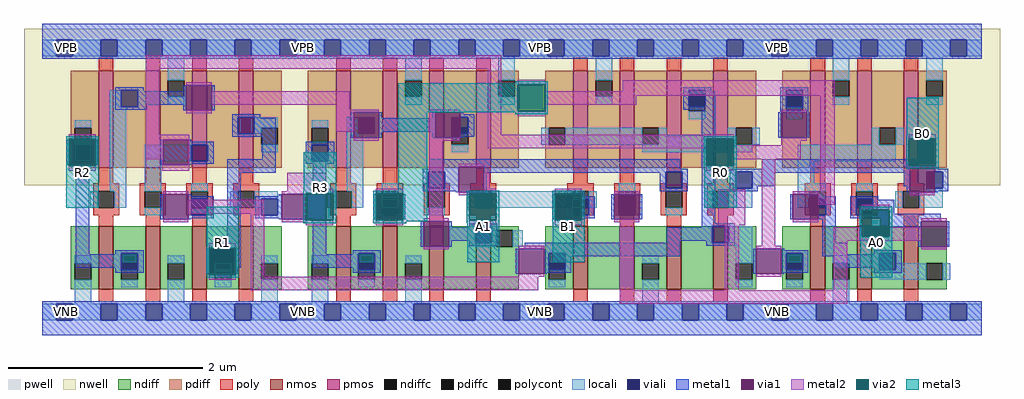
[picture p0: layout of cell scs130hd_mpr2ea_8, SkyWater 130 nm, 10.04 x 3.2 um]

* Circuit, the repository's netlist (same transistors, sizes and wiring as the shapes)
* NGSPICE file created from scs130hd_mpr2ea_8.ext - technology: sky130A

.subckt scs130hd_mpr2ea_8 VPB VNB B0 A1 R2 A0 R0 R3 B1 R1 vpwr vgnd
X0 vgnd R0 R2 VNB sky130_fd_pr__nfet_01v8 ad=0.10725 pd=0.98 as=0.10725 ps=0.98 w=0.65 l=0.15
X1 a_826_46# A1 vgnd VNB sky130_fd_pr__nfet_01v8 ad=0.10725 pd=0.98 as=0.10725 ps=0.98 w=0.65 l=0.15
X2 a_104_198# A1 vpwr VPB sky130_fd_pr__pfet_01v8 ad=0.165 pd=1.33 as=0.165 ps=1.33 w=1 l=0.15
X3 vpwr B1 a_104_198# VPB sky130_fd_pr__pfet_01v8 ad=0.29 pd=2.58 as=0.165 ps=1.33 w=1 l=0.15
X4 R2 a_104_198# vgnd VNB sky130_fd_pr__nfet_01v8 ad=0.10725 pd=0.98 as=0.1885 ps=1.88 w=0.65 l=0.15
X5 a_688_198# B0 a_1706_46# VNB sky130_fd_pr__nfet_01v8 ad=0.1885 pd=1.88 as=0.10725 ps=0.98 w=0.65 l=0.15
X6 vpwr a_688_198# a_634_296# VPB sky130_fd_pr__pfet_01v8 ad=0.165 pd=1.33 as=0.165 ps=1.33 w=1 l=0.15
X7 vgnd R3 R1 VNB sky130_fd_pr__nfet_01v8 ad=0.1885 pd=1.88 as=0.10725 ps=0.98 w=0.65 l=0.15
X8 a_1706_46# A0 vgnd VNB sky130_fd_pr__nfet_01v8 ad=0.10725 pd=0.98 as=0.10725 ps=0.98 w=0.65 l=0.15
X9 a_634_296# a_104_198# R3 VPB sky130_fd_pr__pfet_01v8 ad=0.165 pd=1.33 as=0.29 ps=2.58 w=1 l=0.15
X10 a_1122_46# B1 a_296_198# VNB sky130_fd_pr__nfet_01v8 ad=0.10725 pd=0.98 as=0.1885 ps=1.88 w=0.65 l=0.15
X11 R1 a_296_198# vgnd VNB sky130_fd_pr__nfet_01v8 ad=0.10725 pd=0.98 as=0.10725 ps=0.98 w=0.65 l=0.15
X12 a_296_198# B0 a_1314_46# VNB sky130_fd_pr__nfet_01v8 ad=0.1885 pd=1.88 as=0.10725 ps=0.98 w=0.65 l=0.15
X13 vpwr B1 a_1034_296# VPB sky130_fd_pr__pfet_01v8 ad=0.165 pd=1.33 as=0.29 ps=2.58 w=1 l=0.15
X14 a_1034_296# B0 a_296_198# VPB sky130_fd_pr__pfet_01v8 ad=0.29 pd=2.58 as=0.165 ps=1.33 w=1 l=0.15
X15 a_1034_296# A0 vpwr VPB sky130_fd_pr__pfet_01v8 ad=0.165 pd=1.33 as=0.165 ps=1.33 w=1 l=0.15
X16 a_296_198# A1 a_1034_296# VPB sky130_fd_pr__pfet_01v8 ad=0.165 pd=1.33 as=0.165 ps=1.33 w=1 l=0.15
X17 a_1314_46# A1 vgnd VNB sky130_fd_pr__nfet_01v8 ad=0.10725 pd=0.98 as=0.10725 ps=0.98 w=0.65 l=0.15
X18 vgnd a_688_198# R3 VNB sky130_fd_pr__nfet_01v8 ad=0.10725 pd=0.98 as=0.10725 ps=0.98 w=0.65 l=0.15
X19 vgnd A0 a_1122_46# VNB sky130_fd_pr__nfet_01v8 ad=0.10725 pd=0.98 as=0.10725 ps=0.98 w=0.65 l=0.15
X20 R3 a_104_198# vgnd VNB sky130_fd_pr__nfet_01v8 ad=0.10725 pd=0.98 as=0.1885 ps=1.88 w=0.65 l=0.15
X21 vpwr R0 a_146_296# VPB sky130_fd_pr__pfet_01v8 ad=0.165 pd=1.33 as=0.165 ps=1.33 w=1 l=0.15
X22 a_146_296# a_104_198# R2 VPB sky130_fd_pr__pfet_01v8 ad=0.165 pd=1.33 as=0.29 ps=2.58 w=1 l=0.15
X23 a_338_296# a_296_198# vpwr VPB sky130_fd_pr__pfet_01v8 ad=0.165 pd=1.33 as=0.165 ps=1.33 w=1 l=0.15
X24 R1 R3 a_338_296# VPB sky130_fd_pr__pfet_01v8 ad=0.29 pd=2.58 as=0.165 ps=1.33 w=1 l=0.15
X25 vpwr a_688_198# R0 VPB sky130_fd_pr__pfet_01v8 ad=0.165 pd=1.33 as=0.29 ps=2.58 w=1 l=0.15
X26 vpwr B0 a_688_198# VPB sky130_fd_pr__pfet_01v8 ad=0.29 pd=2.58 as=0.165 ps=1.33 w=1 l=0.15
X27 a_104_198# B1 a_826_46# VNB sky130_fd_pr__nfet_01v8 ad=0.1885 pd=1.88 as=0.10725 ps=0.98 w=0.65 l=0.15
X28 vgnd a_688_198# R0 VNB sky130_fd_pr__nfet_01v8 ad=0.10725 pd=0.98 as=0.1885 ps=1.88 w=0.65 l=0.15
X29 a_688_198# A0 vpwr VPB sky130_fd_pr__pfet_01v8 ad=0.165 pd=1.33 as=0.165 ps=1.33 w=1 l=0.15
.ends

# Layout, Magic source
magic
tech sky130A
magscale 1 2
<< nwell >>
rect -38 260 1970 582
<< pwell >>
rect 32 -12 66 16
rect 28 -16 66 -12
rect 520 -16 554 16
rect 1008 -16 1042 16
rect 1496 -12 1530 16
rect 1496 -16 1534 -12
rect 28 -18 62 -16
rect 1500 -18 1534 -16
<< nmos >>
rect 116 46 146 176
rect 212 46 242 176
rect 308 46 338 176
rect 404 46 434 176
rect 604 46 634 176
rect 700 46 730 176
rect 796 46 826 176
rect 892 46 922 176
rect 1092 46 1122 176
rect 1188 46 1218 176
rect 1284 46 1314 176
rect 1380 46 1410 176
rect 1580 46 1610 176
rect 1676 46 1706 176
rect 1772 46 1802 176
<< pmos >>
rect 116 296 146 496
rect 212 296 242 496
rect 308 296 338 496
rect 404 296 434 496
rect 604 296 634 496
rect 700 296 730 496
rect 796 296 826 496
rect 892 296 922 496
rect 1092 296 1122 496
rect 1188 296 1218 496
rect 1284 296 1314 496
rect 1380 296 1410 496
rect 1580 296 1610 496
rect 1676 296 1706 496
rect 1772 296 1802 496
<< ndiff >>
rect 58 100 116 176
rect 58 66 66 100
rect 100 66 116 100
rect 58 46 116 66
rect 146 100 212 176
rect 146 66 162 100
rect 196 66 212 100
rect 146 46 212 66
rect 242 100 308 176
rect 242 66 258 100
rect 292 66 308 100
rect 242 46 308 66
rect 338 100 404 176
rect 338 66 354 100
rect 388 66 404 100
rect 338 46 404 66
rect 434 100 492 176
rect 434 66 450 100
rect 484 66 492 100
rect 434 46 492 66
rect 546 100 604 176
rect 546 66 554 100
rect 588 66 604 100
rect 546 46 604 66
rect 634 100 700 176
rect 634 66 650 100
rect 684 66 700 100
rect 634 46 700 66
rect 730 100 796 176
rect 730 66 746 100
rect 780 66 796 100
rect 730 46 796 66
rect 826 46 892 176
rect 922 168 980 176
rect 922 134 934 168
rect 968 134 980 168
rect 922 46 980 134
rect 1034 100 1092 176
rect 1034 66 1042 100
rect 1076 66 1092 100
rect 1034 46 1092 66
rect 1122 46 1188 176
rect 1218 100 1284 176
rect 1218 66 1234 100
rect 1268 66 1284 100
rect 1218 46 1284 66
rect 1314 46 1380 176
rect 1410 100 1468 176
rect 1410 66 1426 100
rect 1460 66 1468 100
rect 1410 46 1468 66
rect 1522 100 1580 176
rect 1522 66 1530 100
rect 1564 66 1580 100
rect 1522 46 1580 66
rect 1610 100 1676 176
rect 1610 66 1626 100
rect 1660 66 1676 100
rect 1610 46 1676 66
rect 1706 46 1772 176
rect 1802 100 1860 176
rect 1802 66 1818 100
rect 1852 66 1860 100
rect 1802 46 1860 66
<< pdiff >>
rect 58 378 116 496
rect 58 344 66 378
rect 100 344 116 378
rect 58 296 116 344
rect 146 296 212 496
rect 242 476 308 496
rect 242 442 258 476
rect 292 442 308 476
rect 242 296 308 442
rect 338 296 404 496
rect 434 378 492 496
rect 434 344 450 378
rect 484 344 492 378
rect 434 296 492 344
rect 546 378 604 496
rect 546 344 554 378
rect 588 344 604 378
rect 546 296 604 344
rect 634 296 700 496
rect 730 476 796 496
rect 730 442 746 476
rect 780 442 796 476
rect 730 296 796 442
rect 826 378 892 496
rect 826 344 842 378
rect 876 344 892 378
rect 826 296 892 344
rect 922 476 980 496
rect 922 442 938 476
rect 972 442 980 476
rect 922 296 980 442
rect 1034 378 1092 496
rect 1034 344 1042 378
rect 1076 344 1092 378
rect 1034 296 1092 344
rect 1122 476 1188 496
rect 1122 442 1138 476
rect 1172 442 1188 476
rect 1122 296 1188 442
rect 1218 378 1284 496
rect 1218 344 1234 378
rect 1268 344 1284 378
rect 1218 296 1284 344
rect 1314 446 1380 496
rect 1314 412 1330 446
rect 1364 412 1380 446
rect 1314 296 1380 412
rect 1410 378 1468 496
rect 1410 344 1426 378
rect 1460 344 1468 378
rect 1410 296 1468 344
rect 1522 446 1580 496
rect 1522 412 1530 446
rect 1564 412 1580 446
rect 1522 296 1580 412
rect 1610 476 1676 496
rect 1610 442 1626 476
rect 1660 442 1676 476
rect 1610 296 1676 442
rect 1706 378 1772 496
rect 1706 344 1722 378
rect 1756 344 1772 378
rect 1706 296 1772 344
rect 1802 476 1860 496
rect 1802 442 1818 476
rect 1852 442 1860 476
rect 1802 296 1860 442
<< ndiffc >>
rect 66 66 100 100
rect 162 66 196 100
rect 258 66 292 100
rect 354 66 388 100
rect 450 66 484 100
rect 554 66 588 100
rect 650 66 684 100
rect 746 66 780 100
rect 934 134 968 168
rect 1042 66 1076 100
rect 1234 66 1268 100
rect 1426 66 1460 100
rect 1530 66 1564 100
rect 1626 66 1660 100
rect 1818 66 1852 100
<< pdiffc >>
rect 66 344 100 378
rect 258 442 292 476
rect 450 344 484 378
rect 554 344 588 378
rect 746 442 780 476
rect 842 344 876 378
rect 938 442 972 476
rect 1042 344 1076 378
rect 1138 442 1172 476
rect 1234 344 1268 378
rect 1330 412 1364 446
rect 1426 344 1460 378
rect 1530 412 1564 446
rect 1626 442 1660 476
rect 1722 344 1756 378
rect 1818 442 1852 476
<< poly >>
rect 116 496 146 522
rect 212 496 242 522
rect 308 496 338 522
rect 404 496 434 522
rect 604 496 634 522
rect 700 496 730 522
rect 796 496 826 522
rect 892 496 922 522
rect 1092 496 1122 522
rect 1188 496 1218 522
rect 1284 496 1314 522
rect 1380 496 1410 522
rect 1580 496 1610 522
rect 1676 496 1706 522
rect 1772 496 1802 522
rect 116 264 146 296
rect 212 264 242 296
rect 308 264 338 296
rect 404 264 434 296
rect 604 264 634 296
rect 700 264 730 296
rect 796 264 826 296
rect 892 264 922 296
rect 1092 264 1122 296
rect 1188 264 1218 296
rect 1284 264 1314 296
rect 1380 264 1410 296
rect 1580 264 1610 296
rect 1676 264 1706 296
rect 1772 264 1802 296
rect 104 248 158 264
rect 104 214 114 248
rect 148 214 158 248
rect 104 198 158 214
rect 200 248 254 264
rect 200 214 210 248
rect 244 214 254 248
rect 200 198 254 214
rect 296 248 350 264
rect 296 214 306 248
rect 340 214 350 248
rect 296 198 350 214
rect 392 248 446 264
rect 392 214 402 248
rect 436 214 446 248
rect 392 198 446 214
rect 592 248 646 264
rect 592 214 602 248
rect 636 214 646 248
rect 592 198 646 214
rect 688 248 742 264
rect 688 214 698 248
rect 732 214 742 248
rect 688 198 742 214
rect 784 248 838 264
rect 784 214 794 248
rect 828 214 838 248
rect 784 198 838 214
rect 880 248 934 264
rect 880 214 890 248
rect 924 214 934 248
rect 880 198 934 214
rect 1080 248 1134 264
rect 1080 214 1090 248
rect 1124 214 1134 248
rect 1080 198 1134 214
rect 1176 248 1230 264
rect 1176 214 1186 248
rect 1220 214 1230 248
rect 1176 198 1230 214
rect 1272 248 1326 264
rect 1272 214 1282 248
rect 1316 214 1326 248
rect 1272 198 1326 214
rect 1368 248 1422 264
rect 1368 214 1378 248
rect 1412 214 1422 248
rect 1368 198 1422 214
rect 1568 248 1622 264
rect 1568 214 1578 248
rect 1612 214 1622 248
rect 1568 198 1622 214
rect 1664 248 1718 264
rect 1664 214 1674 248
rect 1708 214 1718 248
rect 1664 198 1718 214
rect 1760 248 1814 264
rect 1760 214 1770 248
rect 1804 214 1814 248
rect 1760 198 1814 214
rect 116 176 146 198
rect 212 176 242 198
rect 308 176 338 198
rect 404 176 434 198
rect 604 176 634 198
rect 700 176 730 198
rect 796 176 826 198
rect 892 176 922 198
rect 1092 176 1122 198
rect 1188 176 1218 198
rect 1284 176 1314 198
rect 1380 176 1410 198
rect 1580 176 1610 198
rect 1676 176 1706 198
rect 1772 176 1802 198
rect 116 20 146 46
rect 212 20 242 46
rect 308 20 338 46
rect 404 20 434 46
rect 604 20 634 46
rect 700 20 730 46
rect 796 20 826 46
rect 892 20 922 46
rect 1092 20 1122 46
rect 1188 20 1218 46
rect 1284 20 1314 46
rect 1380 20 1410 46
rect 1580 20 1610 46
rect 1676 20 1706 46
rect 1772 20 1802 46
<< polycont >>
rect 114 214 148 248
rect 210 214 244 248
rect 306 214 340 248
rect 402 214 436 248
rect 602 214 636 248
rect 698 214 732 248
rect 794 214 828 248
rect 890 214 924 248
rect 1090 214 1124 248
rect 1186 214 1220 248
rect 1282 214 1316 248
rect 1378 214 1412 248
rect 1578 214 1612 248
rect 1674 214 1708 248
rect 1770 214 1804 248
<< locali >>
rect 0 526 28 560
rect 62 526 120 560
rect 154 526 212 560
rect 246 526 304 560
rect 338 526 396 560
rect 430 526 488 560
rect 522 526 580 560
rect 614 526 672 560
rect 706 526 764 560
rect 798 526 856 560
rect 890 526 948 560
rect 982 526 1040 560
rect 1074 526 1132 560
rect 1166 526 1224 560
rect 1258 526 1316 560
rect 1350 526 1408 560
rect 1442 526 1500 560
rect 1534 526 1592 560
rect 1626 526 1684 560
rect 1718 526 1776 560
rect 1810 526 1868 560
rect 1902 526 1932 560
rect 258 476 292 526
rect 138 422 162 456
rect 258 426 292 442
rect 746 476 780 526
rect 746 426 780 442
rect 938 476 972 526
rect 938 426 972 442
rect 1138 476 1172 526
rect 1626 476 1660 526
rect 1138 426 1172 442
rect 1330 456 1364 462
rect 66 378 100 394
rect 138 248 172 422
rect 436 378 484 400
rect 436 366 450 378
rect 98 214 114 248
rect 148 214 172 248
rect 210 310 306 344
rect 450 328 484 344
rect 554 378 588 394
rect 626 366 650 400
rect 1330 396 1364 412
rect 1530 456 1564 462
rect 1626 426 1660 442
rect 1818 476 1852 526
rect 1818 426 1852 442
rect 1530 396 1564 412
rect 210 248 244 310
rect 210 198 244 214
rect 306 248 340 264
rect 626 248 660 366
rect 1026 344 1042 378
rect 1076 344 1234 378
rect 1268 362 1284 378
rect 1410 362 1426 378
rect 1268 344 1426 362
rect 1460 344 1476 378
rect 1706 344 1722 378
rect 1756 344 1772 378
rect 842 328 876 344
rect 1234 328 1460 344
rect 1554 310 1756 344
rect 386 214 402 248
rect 436 232 484 248
rect 436 214 450 232
rect 586 214 602 248
rect 636 214 660 248
rect 698 248 732 264
rect 794 248 828 254
rect 1186 248 1220 264
rect 874 214 890 248
rect 924 214 1090 248
rect 1124 214 1140 248
rect 794 198 828 214
rect 1282 248 1316 254
rect 1426 248 1460 254
rect 1362 214 1378 248
rect 1412 214 1460 248
rect 1554 264 1588 310
rect 1554 248 1612 264
rect 1554 214 1578 248
rect 1282 198 1316 214
rect 1674 248 1708 264
rect 1818 248 1852 254
rect 1754 214 1770 248
rect 1804 214 1852 248
rect 924 142 934 168
rect 890 134 934 142
rect 968 134 988 168
rect 1412 142 1460 176
rect 66 100 100 116
rect 66 16 100 66
rect 162 50 196 66
rect 258 100 292 116
rect 258 16 292 66
rect 354 50 388 66
rect 450 100 484 116
rect 450 16 484 66
rect 554 100 588 116
rect 554 16 588 66
rect 650 50 684 66
rect 746 100 780 116
rect 746 16 780 66
rect 1042 50 1076 66
rect 1234 100 1268 116
rect 1234 16 1268 66
rect 1426 100 1460 142
rect 1426 50 1460 66
rect 1530 50 1564 66
rect 1626 100 1660 116
rect 1756 86 1818 100
rect 1722 66 1818 86
rect 1852 66 1868 100
rect 1626 16 1660 66
rect 0 -18 28 16
rect 62 -18 120 16
rect 154 -18 212 16
rect 246 -18 304 16
rect 338 -18 396 16
rect 430 -18 488 16
rect 522 -18 580 16
rect 614 -18 672 16
rect 706 -18 764 16
rect 798 -18 856 16
rect 890 -18 948 16
rect 982 -18 1040 16
rect 1074 -18 1132 16
rect 1166 -18 1224 16
rect 1258 -18 1316 16
rect 1350 -18 1408 16
rect 1442 -18 1500 16
rect 1534 -18 1592 16
rect 1626 -18 1684 16
rect 1718 -18 1776 16
rect 1810 -18 1868 16
rect 1902 -18 1932 16
<< viali >>
rect 28 526 62 560
rect 120 526 154 560
rect 212 526 246 560
rect 304 526 338 560
rect 396 526 430 560
rect 488 526 522 560
rect 580 526 614 560
rect 672 526 706 560
rect 764 526 798 560
rect 856 526 890 560
rect 948 526 982 560
rect 1040 526 1074 560
rect 1132 526 1166 560
rect 1224 526 1258 560
rect 1316 526 1350 560
rect 1408 526 1442 560
rect 1500 526 1534 560
rect 1592 526 1626 560
rect 1684 526 1718 560
rect 1776 526 1810 560
rect 1868 526 1902 560
rect 162 422 196 456
rect 1330 446 1364 456
rect 1330 422 1364 446
rect 66 310 100 344
rect 402 366 436 400
rect 306 310 340 344
rect 554 310 588 344
rect 650 366 684 400
rect 842 378 876 400
rect 1530 446 1564 456
rect 1530 422 1564 446
rect 842 366 876 378
rect 306 214 340 232
rect 306 198 340 214
rect 450 198 484 232
rect 698 214 732 232
rect 698 198 732 214
rect 794 254 828 288
rect 1090 214 1124 232
rect 1186 214 1220 232
rect 1090 198 1124 214
rect 1186 198 1220 214
rect 1282 254 1316 288
rect 1426 254 1460 288
rect 1578 214 1612 232
rect 1578 198 1612 214
rect 1818 254 1852 288
rect 1674 214 1708 232
rect 1674 198 1708 214
rect 890 142 924 176
rect 1378 142 1412 176
rect 162 100 196 120
rect 162 86 196 100
rect 354 100 388 120
rect 354 86 388 100
rect 650 100 684 120
rect 650 86 684 100
rect 1042 100 1076 120
rect 1042 86 1076 100
rect 1530 100 1564 120
rect 1530 86 1564 100
rect 1722 86 1756 120
rect 28 -18 62 16
rect 120 -18 154 16
rect 212 -18 246 16
rect 304 -18 338 16
rect 396 -18 430 16
rect 488 -18 522 16
rect 580 -18 614 16
rect 672 -18 706 16
rect 764 -18 798 16
rect 856 -18 890 16
rect 948 -18 982 16
rect 1040 -18 1074 16
rect 1132 -18 1166 16
rect 1224 -18 1258 16
rect 1316 -18 1350 16
rect 1408 -18 1442 16
rect 1500 -18 1534 16
rect 1592 -18 1626 16
rect 1684 -18 1718 16
rect 1776 -18 1810 16
rect 1868 -18 1902 16
<< metal1 >>
rect 0 560 1932 592
rect 0 526 28 560
rect 62 526 120 560
rect 154 526 212 560
rect 246 526 304 560
rect 338 526 396 560
rect 430 526 488 560
rect 522 526 580 560
rect 614 526 672 560
rect 706 526 764 560
rect 798 526 856 560
rect 890 526 948 560
rect 982 526 1040 560
rect 1074 526 1132 560
rect 1166 526 1224 560
rect 1258 526 1316 560
rect 1350 526 1408 560
rect 1442 526 1500 560
rect 1534 526 1592 560
rect 1626 526 1684 560
rect 1718 526 1776 560
rect 1810 526 1868 560
rect 1902 526 1932 560
rect 0 520 1932 526
rect 150 456 208 462
rect 150 422 162 456
rect 196 454 208 456
rect 290 454 296 466
rect 196 426 296 454
rect 196 422 216 426
rect 150 416 216 422
rect 290 414 296 426
rect 348 414 354 466
rect 1318 456 1376 462
rect 1318 422 1330 456
rect 1364 454 1376 456
rect 1518 456 1576 462
rect 1364 422 1384 454
rect 1318 416 1384 422
rect 390 400 448 406
rect 390 366 402 400
rect 436 398 448 400
rect 436 366 480 398
rect 390 360 480 366
rect 50 302 56 354
rect 108 302 114 354
rect 242 302 248 354
rect 300 350 306 354
rect 300 344 352 350
rect 300 310 306 344
rect 340 310 352 344
rect 452 314 480 360
rect 634 358 640 410
rect 692 398 698 410
rect 802 398 808 410
rect 860 406 866 410
rect 860 400 888 406
rect 692 370 808 398
rect 692 358 698 370
rect 802 358 808 370
rect 876 366 888 400
rect 860 360 888 366
rect 860 358 866 360
rect 300 304 352 310
rect 300 302 306 304
rect 68 118 96 302
rect 380 286 480 314
rect 542 344 600 350
rect 542 310 554 344
rect 588 310 600 344
rect 542 304 600 310
rect 242 190 248 242
rect 300 238 306 242
rect 300 232 352 238
rect 300 198 306 232
rect 340 198 352 232
rect 300 192 352 198
rect 300 190 306 192
rect 380 130 408 286
rect 556 242 584 304
rect 796 298 1312 314
rect 796 294 856 298
rect 782 288 856 294
rect 782 254 794 288
rect 828 254 856 288
rect 782 248 856 254
rect 850 246 856 248
rect 908 294 1312 298
rect 908 288 1328 294
rect 908 286 1282 288
rect 908 246 914 286
rect 1270 254 1282 286
rect 1316 254 1328 288
rect 1270 248 1328 254
rect 486 238 492 242
rect 438 232 492 238
rect 438 198 450 232
rect 484 198 492 232
rect 438 192 492 198
rect 486 190 492 192
rect 544 190 584 242
rect 682 190 688 242
rect 740 190 746 242
rect 1050 190 1056 242
rect 1108 238 1114 242
rect 1108 232 1136 238
rect 1124 198 1136 232
rect 1108 192 1136 198
rect 1108 190 1114 192
rect 1170 190 1176 242
rect 1228 190 1234 242
rect 150 120 208 126
rect 150 118 162 120
rect 68 90 162 118
rect 150 86 162 90
rect 196 86 208 120
rect 150 80 208 86
rect 338 78 344 130
rect 396 90 408 130
rect 556 118 584 190
rect 778 134 784 186
rect 836 174 842 186
rect 1356 182 1384 416
rect 1518 422 1530 456
rect 1564 422 1576 456
rect 1518 410 1576 422
rect 1514 358 1520 410
rect 1572 358 1578 410
rect 1480 298 1800 314
rect 1480 294 1784 298
rect 1414 288 1784 294
rect 1836 294 1842 298
rect 1836 288 1864 294
rect 1414 254 1426 288
rect 1460 286 1784 288
rect 1460 258 1508 286
rect 1772 258 1784 286
rect 1460 254 1472 258
rect 1414 248 1472 254
rect 1778 246 1784 258
rect 1852 254 1864 288
rect 1836 248 1864 254
rect 1836 246 1842 248
rect 1538 190 1544 242
rect 1596 238 1602 242
rect 1596 232 1632 238
rect 1612 198 1632 232
rect 1596 190 1632 198
rect 1662 232 1720 238
rect 1662 198 1674 232
rect 1708 230 1720 232
rect 1708 202 1752 230
rect 1708 198 1848 202
rect 1662 192 1848 198
rect 878 176 936 182
rect 878 174 890 176
rect 836 146 890 174
rect 836 134 842 146
rect 878 142 890 146
rect 924 142 936 176
rect 1356 176 1424 182
rect 1356 174 1378 176
rect 1284 146 1378 174
rect 1284 142 1312 146
rect 878 136 936 142
rect 992 130 1312 142
rect 1366 142 1378 146
rect 1412 142 1424 176
rect 1366 136 1424 142
rect 1604 142 1632 190
rect 1724 186 1848 192
rect 1724 174 1808 186
rect 638 120 696 126
rect 638 118 650 120
rect 556 90 650 118
rect 396 78 402 90
rect 638 86 650 90
rect 684 86 696 120
rect 638 80 696 86
rect 974 78 980 130
rect 1032 120 1312 130
rect 1032 86 1042 120
rect 1076 114 1312 120
rect 1076 86 1088 114
rect 1032 80 1088 86
rect 1032 78 1038 80
rect 1462 78 1468 130
rect 1520 126 1526 130
rect 1520 120 1576 126
rect 1520 86 1530 120
rect 1564 86 1576 120
rect 1604 118 1656 142
rect 1802 134 1808 174
rect 1860 134 1866 186
rect 1710 120 1768 126
rect 1710 118 1722 120
rect 1604 114 1722 118
rect 1628 90 1722 114
rect 1520 80 1576 86
rect 1710 86 1722 90
rect 1756 86 1768 120
rect 1710 80 1768 86
rect 1520 78 1526 80
rect 0 16 1932 22
rect 0 -18 28 16
rect 62 -18 120 16
rect 154 -18 212 16
rect 246 -18 304 16
rect 338 -18 396 16
rect 430 -18 488 16
rect 522 -18 580 16
rect 614 -18 672 16
rect 706 -18 764 16
rect 798 -18 856 16
rect 890 -18 948 16
rect 982 -18 1040 16
rect 1074 -18 1132 16
rect 1166 -18 1224 16
rect 1258 -18 1316 16
rect 1350 -18 1408 16
rect 1442 -18 1500 16
rect 1534 -18 1592 16
rect 1626 -18 1684 16
rect 1718 -18 1776 16
rect 1810 -18 1868 16
rect 1902 -18 1932 16
rect 0 -48 1932 -18
<< via1 >>
rect 296 414 348 466
rect 56 344 108 354
rect 56 310 66 344
rect 66 310 100 344
rect 100 310 108 344
rect 56 302 108 310
rect 248 302 300 354
rect 640 400 692 410
rect 640 366 650 400
rect 650 366 684 400
rect 684 366 692 400
rect 808 400 860 410
rect 640 358 692 366
rect 808 366 842 400
rect 842 366 860 400
rect 808 358 860 366
rect 248 190 300 242
rect 856 246 908 298
rect 492 190 544 242
rect 688 232 740 242
rect 688 198 698 232
rect 698 198 732 232
rect 732 198 740 232
rect 688 190 740 198
rect 1056 232 1108 242
rect 1056 198 1090 232
rect 1090 198 1108 232
rect 1056 190 1108 198
rect 1176 232 1228 242
rect 1176 198 1186 232
rect 1186 198 1220 232
rect 1220 198 1228 232
rect 1176 190 1228 198
rect 344 120 396 130
rect 344 86 354 120
rect 354 86 388 120
rect 388 86 396 120
rect 784 134 836 186
rect 1520 358 1572 410
rect 1784 288 1836 298
rect 1784 254 1818 288
rect 1818 254 1836 288
rect 1784 246 1836 254
rect 1544 232 1596 242
rect 1544 198 1578 232
rect 1578 198 1596 232
rect 1544 190 1596 198
rect 344 78 396 86
rect 980 78 1032 130
rect 1468 78 1520 130
rect 1808 134 1860 186
<< metal2 >>
rect 212 500 944 528
rect 54 356 110 365
rect 212 364 240 500
rect 296 466 348 472
rect 348 426 632 454
rect 296 408 348 414
rect 604 416 632 426
rect 604 410 692 416
rect 604 370 640 410
rect 212 354 302 364
rect 212 314 248 354
rect 54 290 110 300
rect 246 302 248 314
rect 300 302 302 354
rect 640 352 692 358
rect 796 410 860 416
rect 796 358 808 410
rect 796 352 860 358
rect 916 364 944 500
rect 978 468 1034 477
rect 1194 454 1630 476
rect 1034 444 1630 454
rect 1034 426 1222 444
rect 978 402 1034 412
rect 1520 410 1572 416
rect 1362 364 1422 365
rect 916 356 1422 364
rect 246 290 302 302
rect 504 253 584 286
rect 504 248 598 253
rect 248 242 300 248
rect 492 244 598 248
rect 492 242 542 244
rect 300 202 456 230
rect 248 184 300 190
rect 342 132 398 141
rect 342 66 398 76
rect 428 72 456 202
rect 492 188 542 190
rect 492 184 598 188
rect 542 178 598 184
rect 686 244 742 253
rect 796 192 824 352
rect 916 336 1366 356
rect 856 298 908 304
rect 1520 352 1572 358
rect 1520 342 1560 352
rect 1422 314 1560 342
rect 1366 290 1422 300
rect 908 253 920 286
rect 908 246 934 253
rect 856 244 934 246
rect 856 240 878 244
rect 686 178 742 188
rect 784 186 836 192
rect 878 178 934 188
rect 1054 244 1110 253
rect 1054 178 1110 188
rect 1176 242 1228 248
rect 1176 184 1228 190
rect 784 128 836 134
rect 980 130 1032 136
rect 980 72 1032 78
rect 428 44 1020 72
rect 1188 44 1216 184
rect 1390 178 1446 252
rect 1404 44 1432 178
rect 1480 136 1508 314
rect 1600 248 1630 444
rect 1782 356 1838 365
rect 1782 298 1838 300
rect 1782 290 1784 298
rect 1544 242 1630 248
rect 1596 220 1630 242
rect 1836 290 1838 298
rect 1784 240 1836 246
rect 1544 184 1596 190
rect 1686 210 1742 220
rect 1628 154 1686 174
rect 1808 186 1860 192
rect 1742 154 1808 174
rect 1628 146 1808 154
rect 1468 130 1520 136
rect 1468 72 1520 78
rect 1628 44 1656 146
rect 1808 128 1860 134
rect 1188 16 1656 44
<< via2 >>
rect 54 354 110 356
rect 54 302 56 354
rect 56 302 108 354
rect 108 302 110 354
rect 54 300 110 302
rect 978 412 1034 468
rect 542 242 598 244
rect 342 130 398 132
rect 342 78 344 130
rect 344 78 396 130
rect 396 78 398 130
rect 342 76 398 78
rect 542 190 544 242
rect 544 190 598 242
rect 542 188 598 190
rect 686 242 742 244
rect 686 190 688 242
rect 688 190 740 242
rect 740 190 742 242
rect 1366 300 1422 356
rect 686 188 742 190
rect 878 188 934 244
rect 1054 242 1110 244
rect 1054 190 1056 242
rect 1056 190 1108 242
rect 1108 190 1110 242
rect 1054 188 1110 190
rect 1782 300 1838 356
rect 1686 154 1742 210
<< metal3 >>
rect 973 470 1040 474
rect 732 468 1040 470
rect 732 412 978 468
rect 1034 412 1040 468
rect 732 410 1040 412
rect 49 356 116 361
rect 49 300 54 356
rect 110 300 116 356
rect 49 214 116 300
rect 538 249 604 328
rect 732 249 792 410
rect 973 406 1040 410
rect 1361 356 1428 361
rect 1778 360 1844 440
rect 1361 300 1366 356
rect 1422 300 1428 356
rect 1361 296 1428 300
rect 537 244 604 249
rect 338 135 404 216
rect 537 188 542 244
rect 598 188 604 244
rect 537 182 604 188
rect 681 244 792 249
rect 681 188 686 244
rect 742 188 792 244
rect 681 186 792 188
rect 873 244 940 249
rect 873 188 878 244
rect 934 188 940 244
rect 681 182 748 186
rect 873 183 940 188
rect 1049 244 1116 249
rect 1049 188 1054 244
rect 1110 188 1116 244
rect 1362 214 1428 296
rect 1777 356 1844 360
rect 1777 300 1782 356
rect 1838 300 1844 356
rect 1777 294 1844 300
rect 1049 185 1116 188
rect 337 132 404 135
rect 337 76 342 132
rect 398 76 404 132
rect 874 102 940 183
rect 1050 102 1116 185
rect 1681 210 1748 216
rect 1681 154 1686 210
rect 1742 154 1748 210
rect 1681 146 1748 154
rect 337 70 404 76
rect 1682 70 1748 146
<< labels >>
flabel nwell s 1496 526 1530 560 0 FreeSans 100 0 0 0 VPB
port 1 nsew
flabel nwell s 1008 526 1042 560 0 FreeSans 100 0 0 0 VPB
port 1 nsew
flabel nwell s 520 526 554 560 0 FreeSans 100 0 0 0 VPB
port 1 nsew
flabel nwell s 32 526 66 560 0 FreeSans 100 0 0 0 VPB
port 1 nsew
flabel pwell s 1496 -16 1530 16 0 FreeSans 100 0 0 0 VNB
port 2 nsew
flabel pwell s 1008 -16 1042 16 0 FreeSans 100 0 0 0 VNB
port 2 nsew
flabel pwell s 520 -16 554 16 0 FreeSans 100 0 0 0 VNB
port 2 nsew
flabel pwell s 32 -16 66 16 0 FreeSans 100 0 0 0 VNB
port 2 nsew
flabel comment s 0 0 0 0 0 FreeSans 100 0 0 0 scs130hd_mpr2ea_8
rlabel metal3 s 1778 294 1844 440 4 B0
port 3 nsew
rlabel metal3 s 874 102 940 248 4 A1
port 4 nsew
rlabel metal3 s 50 214 116 360 4 R2
port 5 nsew
rlabel metal3 s 1682 70 1748 216 4 A0
port 6 nsew
rlabel metal3 s 1362 214 1428 360 4 R0
port 7 nsew
rlabel metal3 s 538 182 604 328 4 R3
port 8 nsew
rlabel metal3 s 1050 102 1116 248 4 B1
port 9 nsew
rlabel metal3 s 338 70 404 216 4 R1
port 10 nsew
flabel metal1 s 30 526 64 560 0 FreeSans 100 0 0 0 vpwr
port 11 nsew
flabel metal1 s 30 -16 64 16 0 FreeSans 100 0 0 0 vgnd
port 12 nsew
<< properties >>
string FIXED_BBOX 0 0 1932 544
<< end >>
